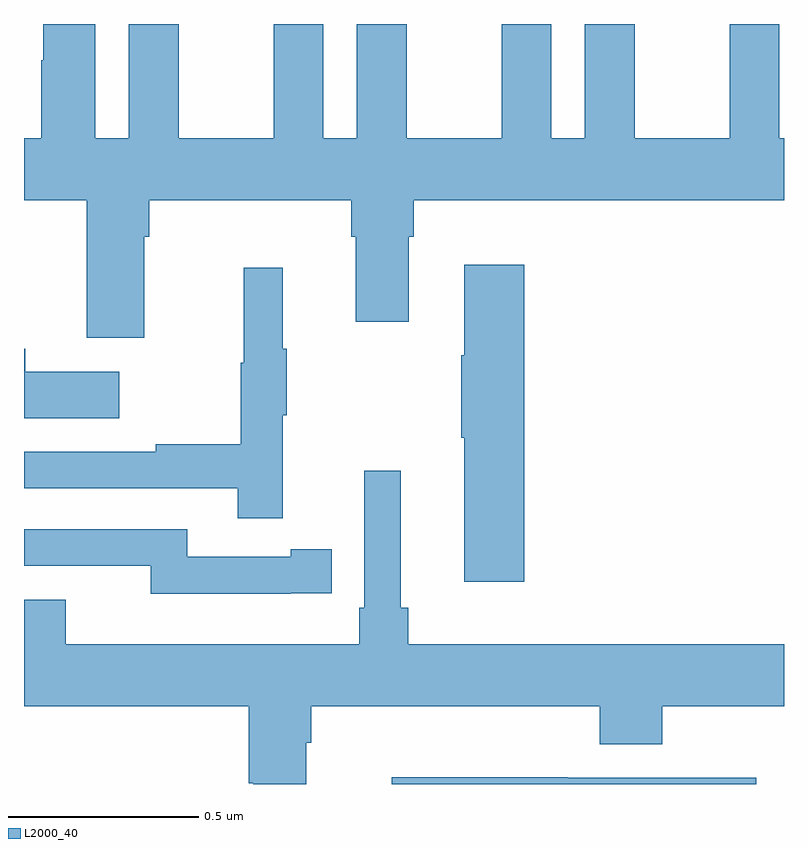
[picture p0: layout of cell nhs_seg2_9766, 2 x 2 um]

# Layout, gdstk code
import gdstk
lib = gdstk.Library(unit=1e-6, precision=1e-09)
def P(c, l, *ps):  # polygons
    for p in ps: c.add(gdstk.Polygon(p, *l))
L2000_40 = (2000, 40)

nhs_seg2_9766 = lib.new_cell('nhs_seg2_9766')
P(nhs_seg2_9766, L2000_40, [(233.317,614.24),(233.33,614.24),(233.33,614.336),(233.861,614.336),(233.861,614.24),(233.873,614.24),(233.873,614.016),(234.013,614.016),(234.013,614.24),(234.026,614.24),(234.026,614.336),(235,614.336),(235,614.5),(234.988,614.5),(234.988,614.8),(234.857,614.8),(234.857,614.5),(234.607,614.5),(234.607,614.8),(234.476,614.8),(234.476,614.5),(234.388,614.5),(234.388,614.8),(234.257,614.8),(234.257,614.5),(234.007,614.5),(234.007,614.8),(233.876,614.8),(233.876,614.5),(233.788,614.5),(233.788,614.8),(233.657,614.8),(233.657,614.5),(233.407,614.5),(233.407,614.8),(233.276,614.8),(233.276,614.5),(233.188,614.5),(233.188,614.8),(233.051,614.8),(233.051,614.705),(233.045,614.705),(233.045,614.5),(233,614.5),(233,614.336),(233.165,614.336),(233.165,613.974),(233.317,613.974)],
  [(234.317,614.167),(234.158,614.167),(234.158,613.928),(234.151,613.928),(234.151,613.711),(234.158,613.711),(234.158,613.332),(234.317,613.332)],
  [(233.681,613.771),(233.692,613.771),(233.692,613.945),(233.681,613.945),(233.681,614.158),(233.578,614.158),(233.578,613.908),(233.571,613.908),(233.571,613.694),(233.347,613.694),(233.347,613.674),(233,613.674),(233,613.578),(233.563,613.578),(233.563,613.5),(233.681,613.5)],
  [(233.251,613.885),(233.003,613.885),(233.003,613.945),(233,613.945),(233,613.763),(233.251,613.763)],
  [(233.743,612.908),(233.756,612.908),(233.756,613.004),(234.515,613.004),(234.515,612.905),(234.68,612.905),(234.68,613.004),(235,613.004),(235,613.168),(234.011,613.168),(234.011,613.264),(233.992,613.264),(233.992,613.624),(233.895,613.624),(233.895,613.264),(233.882,613.264),(233.882,613.168),(233.11,613.168),(233.11,613.285),(233,613.285),(233,613.004),(233.591,613.004),(233.591,612.802),(233.603,612.802),(233.603,612.8),(233.743,612.8)],
  [(233.702,613.302),(233.81,613.302),(233.81,613.418),(233.702,613.418),(233.702,613.398),(233.43,613.398),(233.43,613.47),(233,613.47),(233,613.374),(233.334,613.374),(233.334,613.301),(233.702,613.301)],
  [(234.927,612.816),(234.431,612.816),(234.431,612.818),(233.968,612.818),(233.968,612.8),(234.927,612.8)])

lib.write_gds('nhs_seg2_9766.gds')
